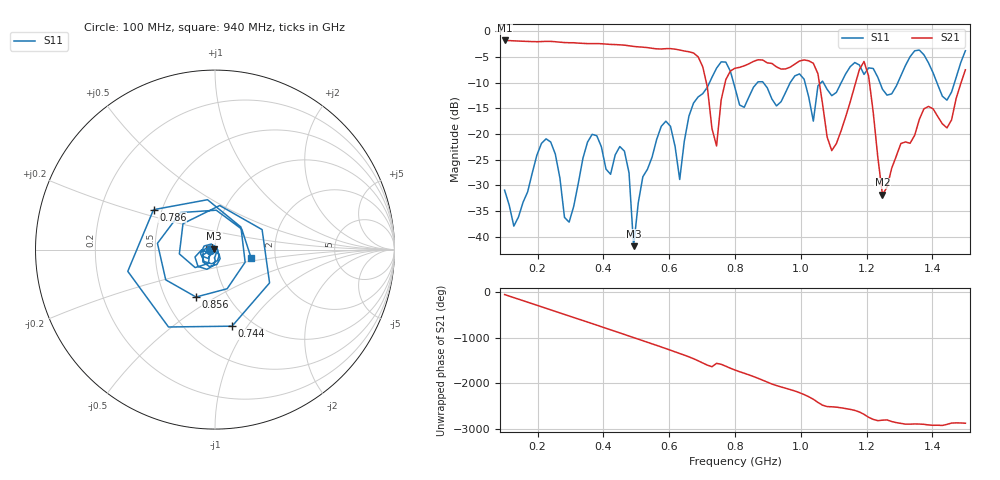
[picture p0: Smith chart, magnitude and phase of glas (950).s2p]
! NanoVNA-App
! Date: 2025-09-25 16:02:52
! Start: 100MHz Stop: 1,5GHz Points: 101
! S-Parameter data: F S11 S21 S12 S22
# Hz S RI R 50
!  Frequency  S11_Real  S11_Imag  S21_Real  S21_Imag  S12_Real  S12_Imag  S22_Real  S22_Imag
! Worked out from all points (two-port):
!   101 points, 100 MHz to 1.5 GHz, reference 50 ohm
!   highest |S21| = -1.80 dB at 100 MHz (marker M1); lowest = -31.8 dB at 1.248 GHz (marker M2)
!   |S21| within 3 dB of the highest: start of sweep to 684.6 MHz
!   lowest |S11| = -41.8 dB at 492 MHz (marker M3), VSWR 1.02, Z = 49.5 + j0.596 ohm
!   |S11| at or under -10 dB: start of sweep to 722.5 MHz; 795.6 MHz to 867.9 MHz (72.36 MHz wide, 8.7 % of centre); 886.1 MHz to 967.7 MHz (81.68 MHz wide, 8.81 % of centre) (the widest 3 of 7)
!   S12 and S22 are empty: the file has one direction only
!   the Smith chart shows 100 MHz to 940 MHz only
!   S11 on the Smith chart (normalised r, x): 100 MHz: 0.94, -0.01; 744 MHz: 0.81, -0.85; 786 MHz: 0.45, +0.24; 856 MHz: 0.71, -0.41; 940 MHz: 1.50, -0.14
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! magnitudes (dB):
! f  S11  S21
! 100 MHz  -30.9  -1.8
! 128 MHz  -37.9  -1.9
! 226 MHz  -20.9  -2.0
! 296 MHz  -37.1  -2.2
! 338 MHz  -24.7  -2.4
! 464 MHz  -23.3  -2.7
! 492 MHz  -41.8  -3.0
! 576 MHz  -18.5  -3.5
! 632 MHz  -28.8  -3.7
! 702 MHz  -12.1  -6.9
! 744 MHz  -7.2  -22.3
! 786 MHz  -7.8  -7.7
! 800 MHz  -11.0  -7.2
! 856 MHz  -10.9  -5.9
! 940 MHz  -13.7  -7.4
! 996 MHz  -8.3  -5.8
! 1.038 GHz  -17.5  -6.2
! 1.094 GHz  -12.5  -23.2
! 1.192 GHz  -8.4  -5.9
! 1.248 GHz  -11.3  -31.8
! 1.276 GHz  -12.2  -26.7
! 1.5 GHz  -3.8  -7.5
